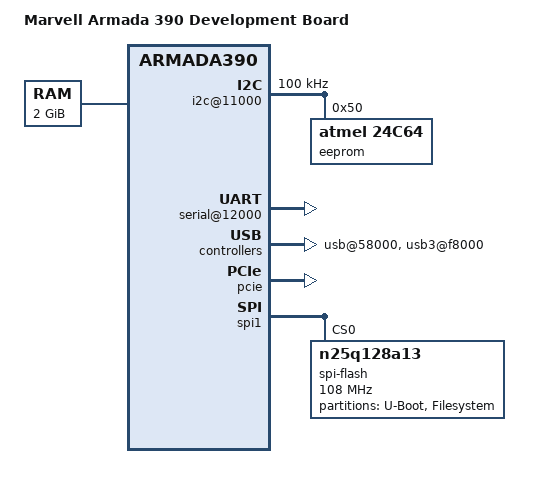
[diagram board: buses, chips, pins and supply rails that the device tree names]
/*
 * Device Tree file for Marvell Armada 390 Development Board
 * (DB-88F6920)
 *
 * Copyright (C) 2016 Marvell
 *
 * Grzegorz Jaszczyk <jaz@semihalf.com>
 *
 * This file is dual-licensed: you can use it either under the terms
 * of the GPL or the X11 license, at your option. Note that this dual
 * licensing only applies to this file, and not this project as a
 * whole.
 *
 *  a) This file is free software; you can redistribute it and/or
 *     modify it under the terms of the GNU General Public License as
 *     published by the Free Software Foundation; either version 2 of the
 *     License, or (at your option) any later version.
 *
 *     This file is distributed in the hope that it will be useful,
 *     but WITHOUT ANY WARRANTY; without even the implied warranty of
 *     MERCHANTABILITY or FITNESS FOR A PARTICULAR PURPOSE.  See the
 *     GNU General Public License for more details.
 *
 * Or, alternatively,
 *
 *  b) Permission is hereby granted, free of charge, to any person
 *     obtaining a copy of this software and associated documentation
 *     files (the "Software"), to deal in the Software without
 *     restriction, including without limitation the rights to use,
 *     copy, modify, merge, publish, distribute, sublicense, and/or
 *     sell copies of the Software, and to permit persons to whom the
 *     Software is furnished to do so, subject to the following
 *     conditions:
 *
 *     The above copyright notice and this permission notice shall be
 *     included in all copies or substantial portions of the Software.
 *
 *     THE SOFTWARE IS PROVIDED "AS IS", WITHOUT WARRANTY OF ANY KIND,
 *     EXPRESS OR IMPLIED, INCLUDING BUT NOT LIMITED TO THE WARRANTIES
 *     OF MERCHANTABILITY, FITNESS FOR A PARTICULAR PURPOSE AND
 *     NONINFRINGEMENT. IN NO EVENT SHALL THE AUTHORS OR COPYRIGHT
 *     HOLDERS BE LIABLE FOR ANY CLAIM, DAMAGES OR OTHER LIABILITY,
 *     WHETHER IN AN ACTION OF CONTRACT, TORT OR OTHERWISE, ARISING
 *     FROM, OUT OF OR IN CONNECTION WITH THE SOFTWARE OR THE USE OR
 *     OTHER DEALINGS IN THE SOFTWARE.
 */

/dts-v1/;
#include "armada-390.dtsi"

/ {
	model = "Marvell Armada 390 Development Board";
	compatible = "marvell,a390-db", "marvell,armada390";

	chosen {
		stdout-path = "serial0:115200n8";
	};

	memory {
		device_type = "memory";
		reg = <0x00000000 0x80000000>; /* 2 GB */
	};

	soc {
		ranges = <MBUS_ID(0xf0, 0x01) 0 0xf1000000 0x100000
			  MBUS_ID(0x01, 0x1d) 0 0xfff00000 0x100000>;

		internal-regs {
			i2c@11000 {
				status = "okay";
				clock-frequency = <100000>;

				eeprom@50 {
					compatible = "atmel,24c64";
					reg = <0x50>;
				};
			};

			/* CON104 */
			serial@12000 {
				status = "okay";
			};

			/* CON97 */
			usb@58000 {
				status = "okay";
			};

			flash@d0000 {
				status = "okay";
				pinctrl-0 = <&nand_pins>;
				pinctrl-names = "default";
				num-cs = <1>;
				marvell,nand-keep-config;
				marvell,nand-enable-arbiter;
				nand-on-flash-bbt;
				nand-ecc-strength = <8>;
				nand-ecc-step-size = <512>;

				partitions {
					compatible = "fixed-partitions";
					#address-cells = <1>;
					#size-cells = <1>;

					partition@0 {
						label = "U-Boot";
						reg = <0 0x800000>;
					};
					partition@800000 {
						label = "Linux";
						reg = <0x800000 0x800000>;
					};
					partition@1000000 {
						label = "Filesystem";
						reg = <0x1000000 0x3f000000>;
					};
				};
			};

			/* CON98 */
			usb3@f8000 {
				status = "okay";
			};
		};

		pcie {
			status = "okay";

			/* CON30 */
			pcie@1,0 {
				status = "okay";
			};

			/* CON44 */
			pcie@2,0 {
				status = "okay";
			};

			/* CON61 */
			pcie@3,0 {
				status = "okay";
			};
		};
	};
};

&spi1 {
	status = "okay";
	pinctrl-0 = <&spi1_pins>;
	pinctrl-names = "default";

	spi-flash@1 {
		#address-cells = <1>;
		#size-cells = <1>;
		compatible = "n25q128a13",
			     "jedec,spi-nor";
		reg = <0>; /* Chip select 0 */
		spi-max-frequency = <108000000>;

		partitions {
			compatible = "fixed-partitions";
			#address-cells = <1>;
			#size-cells = <1>;

			partition@0 {
				label = "U-Boot";
				reg = <0 0x400000>;
			};
			partition@400000 {
				label = "Filesystem";
				reg = <0x400000 0xc00000>;
			};
		};
	};
};
